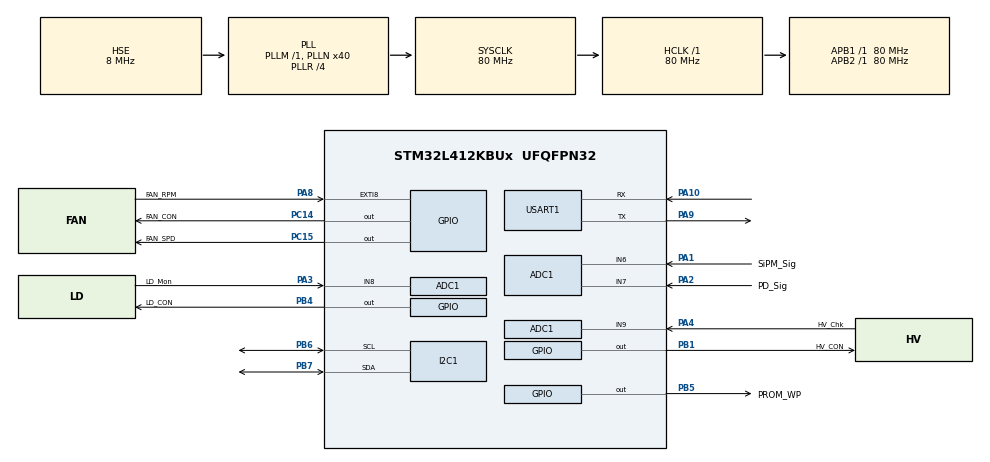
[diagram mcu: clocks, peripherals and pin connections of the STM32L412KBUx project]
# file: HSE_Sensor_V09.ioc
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ADC1.Channel-0\#ChannelRegularConversion=ADC_CHANNEL_6
ADC1.Channel-1\#ChannelRegularConversion=ADC_CHANNEL_7
ADC1.Channel-7\#ChannelRegularConversion=ADC_CHANNEL_8
ADC1.Channel-8\#ChannelRegularConversion=ADC_CHANNEL_9
ADC1.Channel-9\#ChannelRegularConversion=ADC_CHANNEL_TEMPSENSOR
ADC1.ClockPrescaler=ADC_CLOCK_ASYNC_DIV10
ADC1.ContinuousConvMode=ENABLE
ADC1.DMAContinuousRequests=ENABLE
ADC1.ExternalTrigConv=ADC_SOFTWARE_START
ADC1.NbrOfConversion=5
ADC1.NbrOfConversionFlag=1
ADC1.OffsetNumber-0\#ChannelRegularConversion=ADC_OFFSET_NONE
ADC1.OffsetNumber-1\#ChannelRegularConversion=ADC_OFFSET_NONE
ADC1.OffsetNumber-7\#ChannelRegularConversion=ADC_OFFSET_NONE
ADC1.OffsetNumber-8\#ChannelRegularConversion=ADC_OFFSET_NONE
ADC1.OffsetNumber-9\#ChannelRegularConversion=ADC_OFFSET_NONE
ADC1.Rank-0\#ChannelRegularConversion=1
ADC1.Rank-1\#ChannelRegularConversion=2
ADC1.Rank-7\#ChannelRegularConversion=3
ADC1.Rank-8\#ChannelRegularConversion=4
ADC1.Rank-9\#ChannelRegularConversion=5
ADC1.SamplingTime-0\#ChannelRegularConversion=ADC_SAMPLETIME_12CYCLES_5
ADC1.SamplingTime-1\#ChannelRegularConversion=ADC_SAMPLETIME_12CYCLES_5
ADC1.SamplingTime-7\#ChannelRegularConversion=ADC_SAMPLETIME_92CYCLES_5
ADC1.SamplingTime-8\#ChannelRegularConversion=ADC_SAMPLETIME_92CYCLES_5
ADC1.SamplingTime-9\#ChannelRegularConversion=ADC_SAMPLETIME_640CYCLES_5
ADC1.master=1
Dma.ADC1.0.Direction=DMA_PERIPH_TO_MEMORY
Dma.ADC1.0.Instance=DMA1_Channel1
Dma.ADC1.0.MemDataAlignment=DMA_MDATAALIGN_HALFWORD
Dma.ADC1.0.MemInc=DMA_MINC_ENABLE
Dma.ADC1.0.Mode=DMA_CIRCULAR
Dma.ADC1.0.PeriphDataAlignment=DMA_PDATAALIGN_HALFWORD
Dma.ADC1.0.PeriphInc=DMA_PINC_DISABLE
Dma.ADC1.0.Priority=DMA_PRIORITY_HIGH
Dma.Request0=ADC1
Dma.Request1=USART1_RX
Dma.USART1_RX.1.Direction=DMA_PERIPH_TO_MEMORY
Dma.USART1_RX.1.Instance=DMA1_Channel5
Dma.USART1_RX.1.MemDataAlignment=DMA_MDATAALIGN_BYTE
Dma.USART1_RX.1.MemInc=DMA_MINC_ENABLE
Dma.USART1_RX.1.Mode=DMA_CIRCULAR
Dma.USART1_RX.1.PeriphDataAlignment=DMA_PDATAALIGN_BYTE
Dma.USART1_RX.1.PeriphInc=DMA_PINC_DISABLE
Dma.USART1_RX.1.Priority=DMA_PRIORITY_LOW
I2C1.Timing=0x10D19CE4
Mcu.Family=STM32L4
Mcu.Name=STM32L412KBUx
Mcu.Package=UFQFPN32
NVIC.ADC1_2_IRQn=true\:0\:0\:false\:false\:true\:true\:true\:true
NVIC.DMA1_Channel1_IRQn=true\:0\:0\:false\:false\:true\:false\:true\:true
NVIC.DMA1_Channel5_IRQn=true\:0\:0\:false\:false\:true\:false\:true\:true
NVIC.EXTI9_5_IRQn=true\:0\:0\:false\:false\:true\:true\:true\:true
NVIC.PriorityGroup=NVIC_PRIORITYGROUP_4
NVIC.TIM2_IRQn=true\:0\:0\:false\:false\:true\:true\:true\:true
NVIC.USART1_IRQn=true\:0\:0\:false\:false\:true\:true\:true\:true
PA0-CK_IN.Mode=HSE-External-Clock-Source-for-LittleOrca
PA0-CK_IN.Signal=RCC_CK_IN
PA1.GPIO_Label=SiPM_Sig
PA1.Signal=ADCx_IN6
PA10.GPIO_Speed=GPIO_SPEED_FREQ_MEDIUM
PA10.Mode=Asynchronous
PA10.Signal=USART1_RX
PA13\ (JTMS/SWDIO).Mode=Serial_Wire
PA13\ (JTMS/SWDIO).Signal=SYS_JTMS-SWDIO
PA14\ (JTCK/SWCLK).Mode=Serial_Wire
PA14\ (JTCK/SWCLK).Signal=SYS_JTCK-SWCLK
PA2.GPIO_Label=PD_Sig
PA2.Signal=ADCx_IN7
PA3.GPIO_Label=LD_Mon
PA3.Signal=ADCx_IN8
PA4.GPIO_Label=HV_Chk
PA4.Signal=ADCx_IN9
PA8.GPIO_Label=FAN_RPM
PA8.GPIO_PuPd=GPIO_PULLUP
PA8.Signal=GPXTI8
PA9.GPIO_Speed=GPIO_SPEED_FREQ_MEDIUM
PA9.Mode=Asynchronous
PA9.Signal=USART1_TX
PB1.GPIO_Label=HV_CON
PB1.GPIO_PuPd=GPIO_PULLDOWN
PB1.Signal=GPIO_Output
PB4\ (NJTRST).GPIO_Label=LD_CON
PB4\ (NJTRST).GPIO_PuPd=GPIO_PULLDOWN
PB4\ (NJTRST).Signal=GPIO_Output
PB5.GPIO_Label=PROM_WP
PB5.GPIO_PuPd=GPIO_PULLDOWN
PB5.Signal=GPIO_Output
PB6.GPIO_FM6=__NULL
PB6.GPIO_Speed=GPIO_SPEED_FREQ_LOW
PB6.Mode=I2C
PB6.Signal=I2C1_SCL
PB7.GPIO_Speed=GPIO_SPEED_FREQ_LOW
PB7.Mode=I2C
PB7.Signal=I2C1_SDA
PC14-OSC32_IN\ (PC14).GPIO_Label=FAN_CON
PC14-OSC32_IN\ (PC14).GPIO_PuPd=GPIO_PULLDOWN
PC14-OSC32_IN\ (PC14).Signal=GPIO_Output
PC15-OSC32_OUT\ (PC15).GPIO_Label=FAN_SPD
PC15-OSC32_OUT\ (PC15).GPIO_PuPd=GPIO_PULLDOWN
PC15-OSC32_OUT\ (PC15).Signal=GPIO_Output
ProjectManager.HeapSize=0x200
ProjectManager.StackSize=0x400
ProjectManager.TargetToolchain=STM32CubeIDE
RCC.ADCFreq_Value=80000000
RCC.AHBFreq_Value=80000000
RCC.APB1Freq_Value=80000000
RCC.APB1TimFreq_Value=80000000
RCC.APB2Freq_Value=80000000
RCC.APB2TimFreq_Value=80000000
RCC.CortexFreq_Value=80000000
RCC.HCLKFreq_Value=80000000
RCC.HSE_VALUE=8000000
RCC.HSI48_VALUE=48000000
RCC.HSI_VALUE=16000000
RCC.LSE_VALUE=32768
RCC.MSI_VALUE=4000000
RCC.PLLN=40
RCC.PLLR=RCC_PLLR_DIV4
RCC.PLLSourceVirtual=RCC_PLLSOURCE_HSE
RCC.SYSCLKFreq_VALUE=80000000
RCC.SYSCLKSource=RCC_SYSCLKSOURCE_PLLCLK
RCC.USBFreq_Value=4000000
RCC.VCOOutputFreq_Value=320000000
SH.ADCx_IN6.0=ADC1_IN6,IN6-Single-Ended
SH.ADCx_IN7.0=ADC1_IN7,IN7-Single-Ended
SH.ADCx_IN8.0=ADC1_IN8,IN8-Single-Ended
SH.ADCx_IN9.0=ADC1_IN9,IN9-Single-Ended
TIM2.AutoReloadPreload=TIM_AUTORELOAD_PRELOAD_DISABLE
TIM2.Period=100-1
TIM2.Prescaler=8000-1
TIM2.TIM_MasterOutputTrigger=TIM_TRGO_RESET
USART1.VirtualMode-Asynchronous=VM_ASYNC
VP_ADC1_TempSens_Input.Mode=IN-TempSens
VP_ADC1_Vref_Input.Mode=IN-Vrefint
VP_TIM2_VS_ClockSourceINT.Mode=Internal
board=custom

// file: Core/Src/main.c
/* USER CODE BEGIN Header */
/**
  ******************************************************************************
  * @file           : main.c
  * @brief          : Main program body
  ******************************************************************************
  * @attention
  *
  * Copyright (c) 2025 STMicroelectronics.
  * All rights reserved.
  *
  * This software is licensed under terms that can be found in the LICENSE file
  * in the root directory of this software component.
  * If no LICENSE file comes with this software, it is provided AS-IS.
  *
  ******************************************************************************
  */
/* USER CODE END Header */
#include "main.h"

/* USER CODE BEGIN Includes */
#include "Ext_IO.h"

#include "Const.h"
#include "G_Value.h"
#include "Config.h"
#include "Parameter.h"

#include "Uart.h"
#include "Fan.h"

#include "Process.h"

/* USER CODE END Includes */

/* USER CODE BEGIN PTD */
void JumpToBootloader(void);
/* USER CODE END PTD */

/* USER CODE BEGIN PD */
volatile uint16_t Adc_Temp[16];

#define BOOTLOADER_START_ADDRESS  0x1FFF0000U  // STM32L412KBU6 System Memory 주소

volatile uint8_t gBootJumping = 0;

/* USER CODE END PD */

ADC_HandleTypeDef hadc1;
DMA_HandleTypeDef hdma_adc1;

I2C_HandleTypeDef hi2c1;

TIM_HandleTypeDef htim2;

UART_HandleTypeDef huart1;
DMA_HandleTypeDef hdma_usart1_rx;

/* USER CODE BEGIN PV */
uint8_t FlagFirmwareWROn = OFF;

/* USER CODE END PV */

void SystemClock_Config(void);
static void MX_GPIO_Init(void);
static void MX_DMA_Init(void);
static void MX_I2C1_Init(void);
static void MX_ADC1_Init(void);
static void MX_USART1_UART_Init(void);
static void MX_TIM2_Init(void);

/* USER CODE BEGIN 0 */
void HAL_GPIO_EXTI_Callback(uint16_t GPIO_Pin)
{
	if(GPIO_Pin == FAN_RPM_Pin)
	{
		tFan.RpmCurrCnt++;
	}
}

void HAL_UARTEx_RxEventCallback(UART_HandleTypeDef *huart, uint16_t Size)
{
	if (huart->Instance == USART1)
	{
/*
		tUartMsg.uOldPos = tUartMsg.uNewPos;

		if (tUartMsg.uOldPos+Size > MAX_RX_RING_BUFF_SIZE)
		{
			uint8_t DataToCopy = MAX_RX_BUFF_SIZE-tUartMsg.uOldPos;
			memcpy ((uint8_t *)tUartMsg.RingRxTemp + tUartMsg.uOldPos, tUartMsg.RxTemp, DataToCopy);

			tUartMsg.uOldPos  = 0;
			memcpy ((uint8_t *)tUartMsg.RingRxTemp, (uint8_t *)tUartMsg.RxTemp + DataToCopy, (Size - DataToCopy));
			tUartMsg.uNewPos = (Size - DataToCopy);
		}

		else
		{
			memcpy ((uint8_t *)tUartMsg.RingRxTemp + tUartMsg.uOldPos, tUartMsg.RxTemp, Size);
			tUartMsg.uNewPos = Size + tUartMsg.uOldPos;
		}
*/
		//memset(tUartMsg.RingRxTemp, 0, sizeof(tUartMsg.RingRxTemp));
		//tUartMsg.uOldPos = 0;
		//tUartMsg.uNewPos = 0;
		/* start the DMA again */
//		HAL_UARTEx_ReceiveToIdle_IT(&huart1, (uint8_t *)tUartMsg.RxTemp, MAX_RX_BUFF_SIZE);
//		__HAL_DMA_ENABLE_IT(&hdma_usart1_rx, DMA_IT_HT);

		memcpy ((uint8_t *)tUartMsg.RxTemp, (uint8_t *)tUartMsg.RingRxTemp, Size);

		tUartMsg.FlagMsgRcvOn = ON;
		tUartMsg.RxTempCnt = Size;

		memset(tUartMsg.RingRxTemp, 0, sizeof(tUartMsg.RingRxTemp));

		HAL_UART_DMAStop(&huart1);
        HAL_UARTEx_ReceiveToIdle_DMA(&huart1, (uint8_t *) tUartMsg.RingRxTemp, MAX_RX_BUFF_SIZE);
       __HAL_DMA_DISABLE_IT(&hdma_usart1_rx, DMA_IT_HT);
	}
}

void HAL_ADC_ConvCpltCallback(ADC_HandleTypeDef *hadc)
{

	if(ON == tSysState.FlagGetAdcOn)
	{

		tSiPmCtrl.CurrAdcVal 	= (uint16_t)(Adc_Temp[0]);
		tPdCtrl.CurrAdcVal  	= (uint16_t)(Adc_Temp[1]);
		tLdCtrl.CurrAdcVal 		= (uint16_t)(Adc_Temp[2]);
		tHvCtrl.CurrAdcVal 		= (uint16_t)(Adc_Temp[3]);

		tPdCtrl.ChkCount++;

		//HAL_ADC_Start_DMA(&hadc1, Adc_Temp, 5);
	}

	tSysState.Temp			= (uint16_t)(Adc_Temp[4]);

}

void UART_Transmit_Proc(UART_HandleTypeDef* hUart)
{
	if(ON == tMsgPkt.FlagTxPktOn)
	{
		HAL_UART_Transmit(hUart, tUartMsg.RingTxTemp, tUartMsg.TxTempCnt,100);
		UART_TxInit();
	}
}

void HAL_TIM_PeriodElapsedCallback(TIM_HandleTypeDef *htim)
{
	if(htim->Instance == TIM2)
	{
		tSysTime.FlagSysTickOn = ON;
	}
}

/* USER CODE END 0 */

int main(void)
{

  /* MCU Configuration--------------------------------------------------------*/

  /* Reset of all peripherals, Initializes the Flash interface and the Systick. */
  HAL_Init();

  /* USER CODE BEGIN Init */
  memset(Adc_Temp, 0, sizeof(Adc_Temp));

  /* USER CODE END Init */

  /* Configure the system clock */
  SystemClock_Config();

  /* USER CODE BEGIN SysInit */
  PROC_Init();
  EXT_Init();
  FAN_Init();
  UART_Init();
  /* USER CODE END SysInit */

  /* Initialize all configured peripherals */
  MX_GPIO_Init();
  MX_DMA_Init();
  MX_I2C1_Init();
  MX_ADC1_Init();
  MX_USART1_UART_Init();
  MX_TIM2_Init();
  /* USER CODE BEGIN 2 */

  PARAM_Init(&hi2c1);
  PARAM_Process();

  HAL_UARTEx_ReceiveToIdle_DMA(&huart1, (uint8_t*)tUartMsg.RingRxTemp, MAX_RX_BUFF_SIZE);
  __HAL_DMA_DISABLE_IT(&hdma_usart1_rx, DMA_IT_HT);
  HAL_TIM_Base_Start_IT(&htim2);

/*
  uint8_t temp[32] = "Hello World!";
  memcpy(tUartMsg.RingTxTemp, temp, 13);
  tUartMsg.TxTempCnt = 13;
  tMsgPkt.FlagTxPktOn = ON;
*/

  /* USER CODE END 2 */

  /* Infinite loop */
  /* USER CODE BEGIN WHILE */
  while (1)
  {
	 SYSTEM_Process();
	 UART_Transmit_Proc(&huart1);

    /* USER CODE END WHILE */

  }
}

void SystemClock_Config(void)
{
  RCC_OscInitTypeDef RCC_OscInitStruct = {0};
  RCC_ClkInitTypeDef RCC_ClkInitStruct = {0};

  /** Configure the main internal regulator output voltage
  */
  if (HAL_PWREx_ControlVoltageScaling(PWR_REGULATOR_VOLTAGE_SCALE1) != HAL_OK)
  {
    Error_Handler();
  }

  /** Initializes the RCC Oscillators according to the specified parameters
  * in the RCC_OscInitTypeDef structure.
  */
  RCC_OscInitStruct.OscillatorType = RCC_OSCILLATORTYPE_HSE;
  RCC_OscInitStruct.HSEState = RCC_HSE_BYPASS;
  RCC_OscInitStruct.PLL.PLLState = RCC_PLL_ON;
  RCC_OscInitStruct.PLL.PLLSource = RCC_PLLSOURCE_HSE;
  RCC_OscInitStruct.PLL.PLLM = 1;
  RCC_OscInitStruct.PLL.PLLN = 40;
  RCC_OscInitStruct.PLL.PLLQ = RCC_PLLQ_DIV2;
  RCC_OscInitStruct.PLL.PLLR = RCC_PLLR_DIV4;
  if (HAL_RCC_OscConfig(&RCC_OscInitStruct) != HAL_OK)
  {
    Error_Handler();
  }

  /** Initializes the CPU, AHB and APB buses clocks
  */
  RCC_ClkInitStruct.ClockType = RCC_CLOCKTYPE_HCLK|RCC_CLOCKTYPE_SYSCLK
                              |RCC_CLOCKTYPE_PCLK1|RCC_CLOCKTYPE_PCLK2;
  RCC_ClkInitStruct.SYSCLKSource = RCC_SYSCLKSOURCE_PLLCLK;
  RCC_ClkInitStruct.AHBCLKDivider = RCC_SYSCLK_DIV1;
  RCC_ClkInitStruct.APB1CLKDivider = RCC_HCLK_DIV1;
  RCC_ClkInitStruct.APB2CLKDivider = RCC_HCLK_DIV1;

  if (HAL_RCC_ClockConfig(&RCC_ClkInitStruct, FLASH_LATENCY_4) != HAL_OK)
  {
    Error_Handler();
  }
}

static void MX_ADC1_Init(void)
{

  ADC_MultiModeTypeDef multimode = {0};
  ADC_ChannelConfTypeDef sConfig = {0};

  /** Common config
  */
  hadc1.Instance = ADC1;
  hadc1.Init.ClockPrescaler = ADC_CLOCK_ASYNC_DIV10;
  hadc1.Init.Resolution = ADC_RESOLUTION_12B;
  hadc1.Init.DataAlign = ADC_DATAALIGN_RIGHT;
  hadc1.Init.ScanConvMode = ADC_SCAN_ENABLE;
  hadc1.Init.EOCSelection = ADC_EOC_SINGLE_CONV;
  hadc1.Init.LowPowerAutoWait = DISABLE;
  hadc1.Init.ContinuousConvMode = ENABLE;
  hadc1.Init.NbrOfConversion = 5;
  hadc1.Init.DiscontinuousConvMode = DISABLE;
  hadc1.Init.ExternalTrigConv = ADC_SOFTWARE_START;
  hadc1.Init.ExternalTrigConvEdge = ADC_EXTERNALTRIGCONVEDGE_NONE;
  hadc1.Init.DMAContinuousRequests = ENABLE;
  hadc1.Init.Overrun = ADC_OVR_DATA_PRESERVED;
  hadc1.Init.OversamplingMode = DISABLE;
  if (HAL_ADC_Init(&hadc1) != HAL_OK)
  {
    Error_Handler();
  }

  /** Configure the ADC multi-mode
  */
  multimode.Mode = ADC_MODE_INDEPENDENT;
  if (HAL_ADCEx_MultiModeConfigChannel(&hadc1, &multimode) != HAL_OK)
  {
    Error_Handler();
  }

  /** Configure Regular Channel
  */
  sConfig.Channel = ADC_CHANNEL_6;
  sConfig.Rank = ADC_REGULAR_RANK_1;
  sConfig.SamplingTime = ADC_SAMPLETIME_12CYCLES_5;
  sConfig.SingleDiff = ADC_SINGLE_ENDED;
  sConfig.OffsetNumber = ADC_OFFSET_NONE;
  sConfig.Offset = 0;
  if (HAL_ADC_ConfigChannel(&hadc1, &sConfig) != HAL_OK)
  {
    Error_Handler();
  }

  /** Configure Regular Channel
  */
  sConfig.Channel = ADC_CHANNEL_7;
  sConfig.Rank = ADC_REGULAR_RANK_2;
  if (HAL_ADC_ConfigChannel(&hadc1, &sConfig) != HAL_OK)
  {
    Error_Handler();
  }

  /** Configure Regular Channel
  */
  sConfig.Channel = ADC_CHANNEL_8;
  sConfig.Rank = ADC_REGULAR_RANK_3;
  sConfig.SamplingTime = ADC_SAMPLETIME_92CYCLES_5;
  if (HAL_ADC_ConfigChannel(&hadc1, &sConfig) != HAL_OK)
  {
    Error_Handler();
  }

  /** Configure Regular Channel
  */
  sConfig.Channel = ADC_CHANNEL_9;
  sConfig.Rank = ADC_REGULAR_RANK_4;
  if (HAL_ADC_ConfigChannel(&hadc1, &sConfig) != HAL_OK)
  {
    Error_Handler();
  }

  /** Configure Regular Channel
  */
  sConfig.Channel = ADC_CHANNEL_TEMPSENSOR;
  sConfig.Rank = ADC_REGULAR_RANK_5;
  sConfig.SamplingTime = ADC_SAMPLETIME_640CYCLES_5;
  if (HAL_ADC_ConfigChannel(&hadc1, &sConfig) != HAL_OK)
  {
    Error_Handler();
  }
  /* USER CODE BEGIN ADC1_Init 2 */
  HAL_ADCEx_Calibration_Start(&hadc1, ADC_SINGLE_ENDED);
  HAL_ADC_Start_DMA(&hadc1, Adc_Temp, 5);
  /* USER CODE END ADC1_Init 2 */

}

static void MX_I2C1_Init(void)
{

  hi2c1.Instance = I2C1;
  hi2c1.Init.Timing = 0x10D19CE4;
  hi2c1.Init.OwnAddress1 = 0;
  hi2c1.Init.AddressingMode = I2C_ADDRESSINGMODE_7BIT;
  hi2c1.Init.DualAddressMode = I2C_DUALADDRESS_DISABLE;
  hi2c1.Init.OwnAddress2 = 0;
  hi2c1.Init.OwnAddress2Masks = I2C_OA2_NOMASK;
  hi2c1.Init.GeneralCallMode = I2C_GENERALCALL_DISABLE;
  hi2c1.Init.NoStretchMode = I2C_NOSTRETCH_DISABLE;
  if (HAL_I2C_Init(&hi2c1) != HAL_OK)
  {
    Error_Handler();
  }

  /** Configure Analogue filter
  */
  if (HAL_I2CEx_ConfigAnalogFilter(&hi2c1, I2C_ANALOGFILTER_ENABLE) != HAL_OK)
  {
    Error_Handler();
  }

  /** Configure Digital filter
  */
  if (HAL_I2CEx_ConfigDigitalFilter(&hi2c1, 0) != HAL_OK)
  {
    Error_Handler();
  }

}

static void MX_TIM2_Init(void)
{

  TIM_ClockConfigTypeDef sClockSourceConfig = {0};
  TIM_MasterConfigTypeDef sMasterConfig = {0};

  htim2.Instance = TIM2;
  htim2.Init.Prescaler = 8000-1;
  htim2.Init.CounterMode = TIM_COUNTERMODE_UP;
  htim2.Init.Period = 100-1;
  htim2.Init.ClockDivision = TIM_CLOCKDIVISION_DIV1;
  htim2.Init.AutoReloadPreload = TIM_AUTORELOAD_PRELOAD_DISABLE;
  if (HAL_TIM_Base_Init(&htim2) != HAL_OK)
  {
    Error_Handler();
  }
  sClockSourceConfig.ClockSource = TIM_CLOCKSOURCE_INTERNAL;
  if (HAL_TIM_ConfigClockSource(&htim2, &sClockSourceConfig) != HAL_OK)
  {
    Error_Handler();
  }
  sMasterConfig.MasterOutputTrigger = TIM_TRGO_RESET;
  sMasterConfig.MasterSlaveMode = TIM_MASTERSLAVEMODE_DISABLE;
  if (HAL_TIMEx_MasterConfigSynchronization(&htim2, &sMasterConfig) != HAL_OK)
  {
    Error_Handler();
  }

}

static void MX_USART1_UART_Init(void)
{

  huart1.Instance = USART1;
  huart1.Init.BaudRate = 115200;
  huart1.Init.WordLength = UART_WORDLENGTH_8B;
  huart1.Init.StopBits = UART_STOPBITS_1;
  huart1.Init.Parity = UART_PARITY_NONE;
  huart1.Init.Mode = UART_MODE_TX_RX;
  huart1.Init.HwFlowCtl = UART_HWCONTROL_NONE;
  huart1.Init.OverSampling = UART_OVERSAMPLING_16;
  huart1.Init.OneBitSampling = UART_ONE_BIT_SAMPLE_DISABLE;
  huart1.AdvancedInit.AdvFeatureInit = UART_ADVFEATURE_NO_INIT;
  if (HAL_UART_Init(&huart1) != HAL_OK)
  {
    Error_Handler();
  }

}

static void MX_DMA_Init(void)
{

  /* DMA controller clock enable */
  __HAL_RCC_DMA1_CLK_ENABLE();

  /* DMA interrupt init */
  /* DMA1_Channel1_IRQn interrupt configuration */
  HAL_NVIC_SetPriority(DMA1_Channel1_IRQn, 0, 0);
  HAL_NVIC_EnableIRQ(DMA1_Channel1_IRQn);
  /* DMA1_Channel5_IRQn interrupt configuration */
  HAL_NVIC_SetPriority(DMA1_Channel5_IRQn, 0, 0);
  HAL_NVIC_EnableIRQ(DMA1_Channel5_IRQn);

}

static void MX_GPIO_Init(void)
{
  GPIO_InitTypeDef GPIO_InitStruct = {0};

  /* GPIO Ports Clock Enable */
  __HAL_RCC_GPIOC_CLK_ENABLE();
  __HAL_RCC_GPIOA_CLK_ENABLE();
  __HAL_RCC_GPIOB_CLK_ENABLE();

  /*Configure GPIO pin Output Level */
  HAL_GPIO_WritePin(GPIOC, FAN_CON_Pin|FAN_SPD_Pin, GPIO_PIN_RESET);

  /*Configure GPIO pin Output Level */
  HAL_GPIO_WritePin(GPIOB, HV_CON_Pin|LD_CON_Pin|PROM_WP_Pin, GPIO_PIN_RESET);

  /*Configure GPIO pins : FAN_CON_Pin FAN_SPD_Pin */
  GPIO_InitStruct.Pin = FAN_CON_Pin|FAN_SPD_Pin;
  GPIO_InitStruct.Mode = GPIO_MODE_OUTPUT_PP;
  GPIO_InitStruct.Pull = GPIO_PULLDOWN;
  GPIO_InitStruct.Speed = GPIO_SPEED_FREQ_LOW;
  HAL_GPIO_Init(GPIOC, &GPIO_InitStruct);

  /*Configure GPIO pins : HV_CON_Pin LD_CON_Pin PROM_WP_Pin */
  GPIO_InitStruct.Pin = HV_CON_Pin|LD_CON_Pin|PROM_WP_Pin;
  GPIO_InitStruct.Mode = GPIO_MODE_OUTPUT_PP;
  GPIO_InitStruct.Pull = GPIO_PULLDOWN;
  GPIO_InitStruct.Speed = GPIO_SPEED_FREQ_LOW;
  HAL_GPIO_Init(GPIOB, &GPIO_InitStruct);

  /*Configure GPIO pin : FAN_RPM_Pin */
  GPIO_InitStruct.Pin = FAN_RPM_Pin;
  GPIO_InitStruct.Mode = GPIO_MODE_IT_RISING;
  GPIO_InitStruct.Pull = GPIO_PULLUP;
  HAL_GPIO_Init(FAN_RPM_GPIO_Port, &GPIO_InitStruct);

  /* EXTI interrupt init*/
  HAL_NVIC_SetPriority(EXTI9_5_IRQn, 0, 0);
  HAL_NVIC_EnableIRQ(EXTI9_5_IRQn);

}

/* USER CODE BEGIN 4 */

 void JumpToBootloader(void) {
    typedef void (*pFunction)(void);
    pFunction bootloaderEntry;

    __disable_irq();

   HAL_RCC_DeInit();
//   HAL_DeInit();

   SysTick->CTRL = 0;
   SysTick->LOAD = 0;
   SysTick->VAL  = 0;

    // System Memory의 MSP
    __set_MSP(*(__IO uint32_t*) BOOTLOADER_START_ADDRESS);

    bootloaderEntry = (pFunction)(*(__IO uint32_t*) (BOOTLOADER_START_ADDRESS + 4));
    bootloaderEntry();
}
/* USER CODE END 4 */

void Error_Handler(void)
{
  __disable_irq();
  while (1)
  {
  }
}
